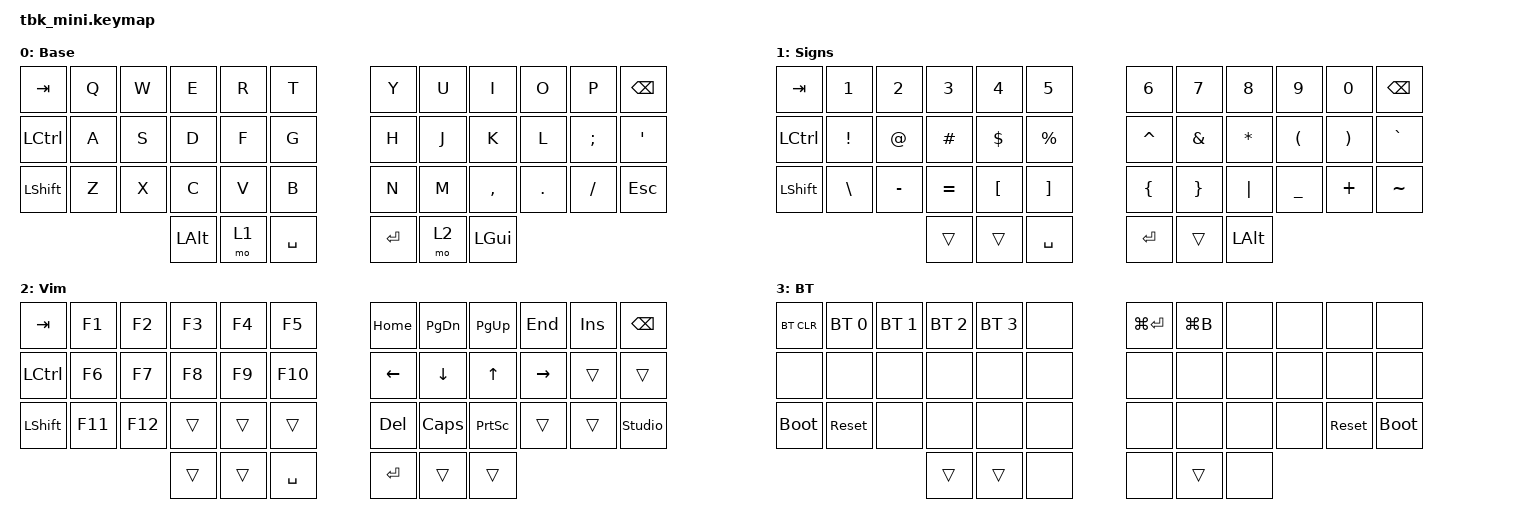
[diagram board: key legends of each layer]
/*
 * ============================================================================
 *  Sputnik / Corne handwired  -  42 keys
 *  Layout US International
 * ============================================================================
 *  zmk.dev/docs/keymaps/list-of-keycodes
 * ============================================================================
 */

#include <behaviors.dtsi>
#include <dt-bindings/zmk/keys.h>
#include <dt-bindings/zmk/bt.h>

/ {
    conditional_layers {
        compatible = "zmk,conditional-layers";
        tri_layer {
            if-layers = <1 2>;
            then-layer = <3>;
        };
    };

    keymap {
        compatible = "zmk,keymap";

        /* LIVELLO 0 */
        base_layer {
            display-name = "Base";
            bindings = <
&kp TAB    &kp Q  &kp W  &kp E  &kp R  &kp T          &kp Y  &kp U  &kp I      &kp O    &kp P     &kp BSPC
&kp LCTRL  &kp A  &kp S  &kp D  &kp F  &kp G          &kp H  &kp J  &kp K      &kp L    &kp SEMI  &kp SQT
&kp LSHFT  &kp Z  &kp X  &kp C  &kp V  &kp B          &kp N  &kp M  &kp COMMA  &kp DOT  &kp FSLH  &kp ESC
                      &kp LALT  &mo 1  &kp SPACE      &kp RET  &mo 2  &kp LGUI
            >;
        };

        /* 1 */
        lower_layer {
            display-name = "Signs";
            bindings = <
&kp TAB    &kp N1    &kp N2     &kp N3     &kp N4    &kp N5          &kp N6     &kp N7    &kp N8    &kp N9     &kp N0    &kp BSPC
&kp LCTRL  &kp EXCL  &kp AT     &kp HASH   &kp DLLR  &kp PRCNT       &kp CARET  &kp AMPS  &kp STAR  &kp LPAR   &kp RPAR  &kp GRAVE
&kp LSHFT  &kp BSLH  &kp MINUS  &kp EQUAL  &kp LBKT  &kp RBKT        &kp LBRC   &kp RBRC  &kp PIPE  &kp UNDER  &kp PLUS  &kp TILDE
                            &trans  &trans  &kp SPACE                &kp RET  &trans  &kp LALT
            >;
        };

        /* 2 */
        raise_layer {
            display-name = "Vim";
            bindings = <
&kp TAB    &kp F1   &kp F2   &kp F3  &kp F4  &kp F5           &kp HOME  &kp PG_DN  &kp PG_UP  &kp END    &kp INS  &kp BSPC
&kp LCTRL  &kp F6   &kp F7   &kp F8  &kp F9  &kp F10          &kp LEFT  &kp DOWN   &kp UP     &kp RIGHT  &trans   &trans
&kp LSHFT  &kp F11  &kp F12  &trans  &trans  &trans           &kp DEL   &kp CAPS   &kp PSCRN  &trans     &trans   &studio_unlock
                        &trans  &trans  &kp SPACE             &kp RET  &trans  &trans
            >;
        };

        /* 3 */
        adjust_layer {
            display-name = "BT";
            bindings = <
&bt BT_CLR   &bt BT_SEL 0  &bt BT_SEL 1  &bt BT_SEL 2  &bt BT_SEL 3  &none     &kp LG(RET)  &kp LG(B)  &none  &none  &none        &none
&none        &none         &none         &none         &none         &none     &none        &none      &none  &none  &none        &none
&bootloader  &sys_reset    &none         &none         &none         &none     &none        &none      &none  &none  &sys_reset   &bootloader
                                      &trans  &trans  &none          &none  &trans  &none
            >;
        };
    };
};
